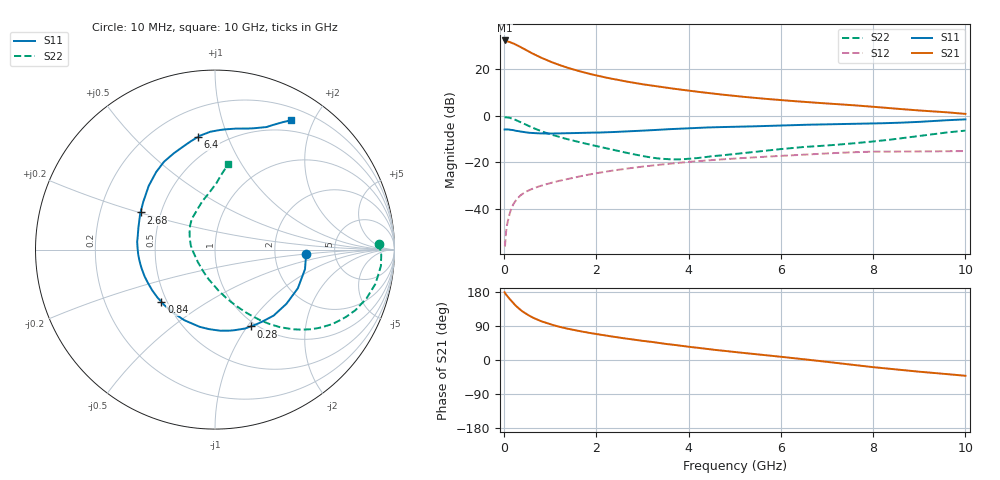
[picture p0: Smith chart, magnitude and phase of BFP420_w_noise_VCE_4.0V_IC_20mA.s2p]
! Infineon Technologies  Discrete & RF Semiconductors
! BFP420
! VCE =  4.0 V,  IC =  20 mA
! Common Emitter S-Parameters:  Jan 2016
# GHz  S  MA  R  50
!  f  S11  S21  S12  S22
! GHz  MAG  ANG  MAG  ANG  MAG  ANG  MAG  ANG
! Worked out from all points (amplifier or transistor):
!   233 points, 10 MHz to 10 GHz, reference 50 ohm
!   highest |S21| = 32.3 dB at 10 MHz (marker M1)
!   |S21| within 3 dB of that: start of sweep to 372.3 MHz
!   unconditionally stable (mu >= 1): start of sweep to 22.12 MHz; 1.85 GHz to end of sweep
!   at 200 MHz: K = 0.32, MSG = 34.5 dB, |S12| = -37.9 dB
!   at 1.74 GHz: K = 0.98, MSG = 22.1 dB, |S12| = -25.6 dB
!   at 10 GHz: K = 1.07, MAG = 6.4 dB, |S12| = -15.1 dB
!   lowest NFmin = 1.23 dB at 900 MHz
!   S11 on the Smith chart (normalised r, x): 10 MHz: 3.04, -0.20; 280 MHz: 0.94, -1.04; 840 MHz: 0.47, -0.33; 2.68 GHz: 0.38, +0.20; 6.4 GHz: 0.37, +0.79; 10 GHz: 0.35, +1.69
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0.01  0.5072 -2.7  41.19 178.6  0.0016 40.9  0.9143 2.1
0.02  0.5082 -4.6  40.04 176.1  0.0017 53.5  0.9267 -1.8
0.075  0.5082 -18.6  39.06 167.7  0.0052 69.0  0.9202 -8.8
0.15  0.4997 -37.2  37.31 156.6  0.0099 70.2  0.8868 -17.9
0.2  0.4918 -48.4  35.65 149.9  0.0127 67.8  0.8524 -23.3
0.28  0.4718 -65.2  32.56 140.2  0.0165 64.1  0.789 -30.7
0.4  0.4526 -86.5  28.17 128.0  0.0212 59.7  0.6944 -39.7
0.5  0.4387 -101.2  24.85 119.9  0.0243 57.2  0.6236 -45.4
0.6  0.4289 -113.4  22.02 113.0  0.0269 55.5  0.5632 -50.1
0.68  0.4226 -121.8  20.09 108.5  0.0288 54.7  0.5222 -53.1
0.84  0.4172 -135.6  16.94 100.8  0.0325 53.7  0.4548 -58.3
1  0.4169 -147.0  14.51 94.2  0.036 53.3  0.4013 -62.8
1.2  0.4196 -158.3  12.23 87.6  0.0404 53.0  0.3498 -67.7
1.68  0.4296 -178.1  8.768 75.3  0.0512 51.7  0.2647 -78.6
2.2  0.4415 166.0  6.616 64.5  0.0632 49.2  0.2025 -91.1
2.68  0.4635 153.5  5.365 55.9  0.0741 45.9  0.1589 -106.3
3.4  0.5043 138.1  4.148 44.3  0.0898 40.2  0.1201 -138.0
5.1  0.5834 113.2  2.599 19.8  0.1229 25.3  0.1553 154.9
6.4  0.6354 98.5  2.021 3.2  0.1451 14.0  0.2097 128.7
6.8  0.6499 94.3  1.894 -2.1  0.1523 10.3  0.2234 121.9
8.4  0.6996 74.6  1.445 -23.9  0.1707 -7.2  0.3101 97.3
10  0.8367 59.5  1.097 -41.6  0.1753 -19.4  0.4806 81.2
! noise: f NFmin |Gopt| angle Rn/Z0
0.9  1.23  0.16  -154  0.13
1.8  1.51  0.24  -144  0.13
2.4  1.66  0.22  -141  0.15
3  1.69  0.3  -132  0.16
4  1.82  0.42  -115  0.23
5  2.28  0.48  -96  0.37
6  2.65  0.52  -86  0.56
